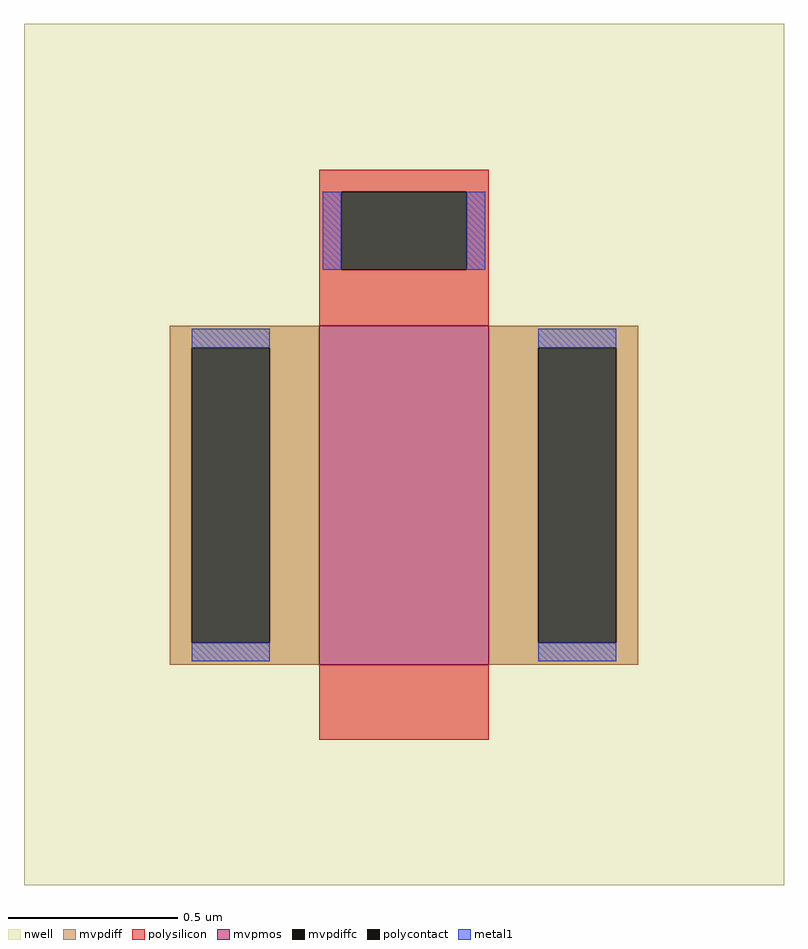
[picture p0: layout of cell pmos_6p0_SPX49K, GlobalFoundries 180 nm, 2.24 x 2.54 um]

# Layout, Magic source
magic
tech gf180mcuC
magscale 1 10
<< nwell >>
rect -224 -254 224 254
<< mvpmos >>
rect -50 -124 50 76
<< mvpdiff >>
rect -138 63 -50 76
rect -138 -111 -125 63
rect -79 -111 -50 63
rect -138 -124 -50 -111
rect 50 63 138 76
rect 50 -111 79 63
rect 125 -111 138 63
rect 50 -124 138 -111
<< mvpdiffc >>
rect -125 -111 -79 63
rect 79 -111 125 63
<< polysilicon >>
rect -50 155 50 168
rect -50 109 -37 155
rect 37 109 50 155
rect -50 76 50 109
rect -50 -168 50 -124
<< polycontact >>
rect -37 109 37 155
<< metal1 >>
rect -48 109 -37 155
rect 37 109 48 155
rect -125 63 -79 74
rect -125 -122 -79 -111
rect 79 63 125 74
rect 79 -122 125 -111
<< properties >>
string gencell pmos_6p0
string library gf180mcu
string parameters w 1 l 0.5 m 1 nf 1 diffcov 100 polycov 100 guard 0 glc 0 grc 0 gtc 0 gbc 0 tbcov 100 rlcov 100 topc 1 botc 0 poverlap 0 doverlap 1 lmin 0.5 wmin 0.3 full_metal 0 compatible {pmos_3p3 pmos_6p0}
<< end >>
